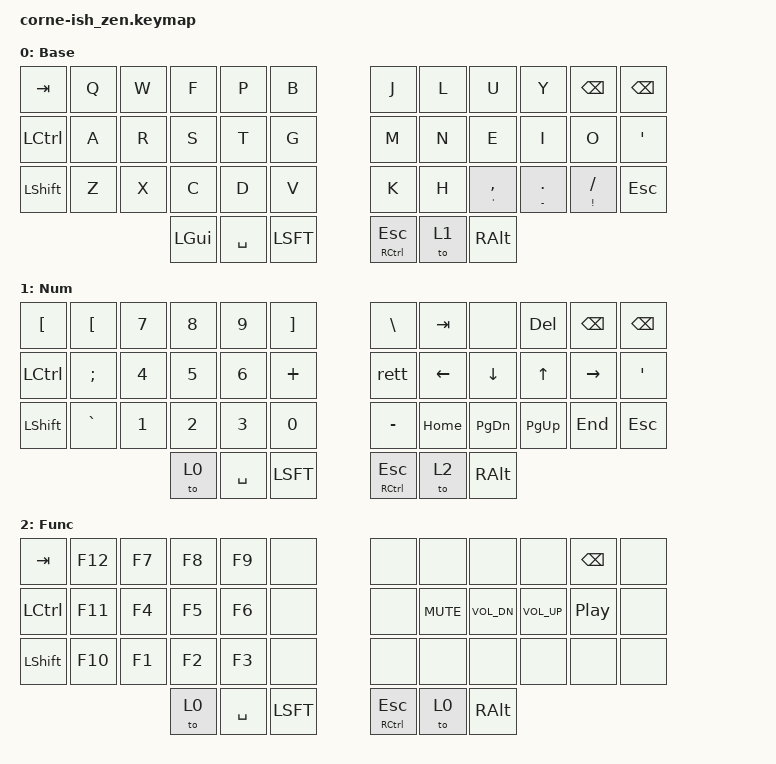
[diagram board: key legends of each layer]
/*
*
* Copyright (c) 2021 Darryl deHaan
* SPDX-License-Identifier: MIT
*
*/

#include <behaviors.dtsi>
#include <dt-bindings/zmk/keys.h>
#include <dt-bindings/zmk/bt.h>

/ {    
        behaviors {
                qta: quick-tap {
                        compatible = "zmk,behavior-hold-tap";
                        label = "GLOBAL_HOLD_TAP";
                        #binding-cells = <2>;
                        flavor = "tap-preferred";
                        tapping-term-ms = <200>;
                        quick-tap-ms = <100>;
                        bindings = <&kp>, <&kp>;
                };
        };
        macros {
                rett: rett {
                        label = "rett";
                        compatible = "zmk,behavior-macro";
                        #binding-cells = <0>;
                        bindings
                                = <&kp RET>, <&to 0>
                        ;
                };
        };
        keymap {
                compatible = "zmk,keymap";

                default_layer {
                        label = "Base";
                        bindings = <
   &kp TAB   &kp Q &kp W &kp F &kp P &kp B   &kp J &kp L  &kp U     &kp Y   &kp BSPC    &kp BSPC
   &kp LCTRL &kp A &kp R &kp S &kp T &kp G   &kp M &kp N  &kp E     &kp I   &kp O    &kp SQT
   &kp LSHFT &kp Z &kp X &kp C &kp D &kp V   &kp K &kp H  &qta SQT COMMA &qta MINUS DOT  &qta EXCL SLASH &kp ESC
                 &kp LGUI &kp SPACE &kp LSFT   &mt RCTL ESC &to 1 &kp RALT
                        >;
                };
                lower_layer {
                        label = "Num";
                        bindings = <
   &kp LBKT  &kp LBKT  &kp N7 &kp N8 &kp N9 &kp RBKT   &kp BSLH &kp TAB &none      &kp DEL   &kp BSPC    &kp BSPC
   &kp LCTRL &kp SEMI  &kp N4 &kp N5 &kp N6 &kp PLUS   &rett &kp LEFT  &kp DOWN  &kp UP    &kp RIGHT   &kp SQT
   &kp LSHFT &kp GRAVE &kp N1 &kp N2 &kp N3 &kp N0     &kp MINUS &kp HOME  &kp PG_DN &kp PG_UP &kp END &kp ESC
                  &to 0 &kp SPACE &kp LSFT   &mt RCTL ESC &to 2 &kp RALT
                        >;
                };

                raise_layer {
                        label = "Func";
                        bindings = <
   &kp  TAB  &kp F12 &kp F7 &kp F8 &kp F9 &none      &none &none &none &none &kp BSPC &none
   &kp LCTRL &kp F11 &kp F4 &kp F5 &kp F6 &none      &none &kp C_MUTE &kp C_VOL_DN &kp C_VOL_UP &kp C_PP &none
   &kp LSHFT &kp F10 &kp F1 &kp F2 &kp F3 &none      &none &none &none &none &none &none
                  &to 0 &kp SPACE &kp LSFT   &mt RCTL ESC &to 0 &kp RALT
                        >;
                };
        };
};
